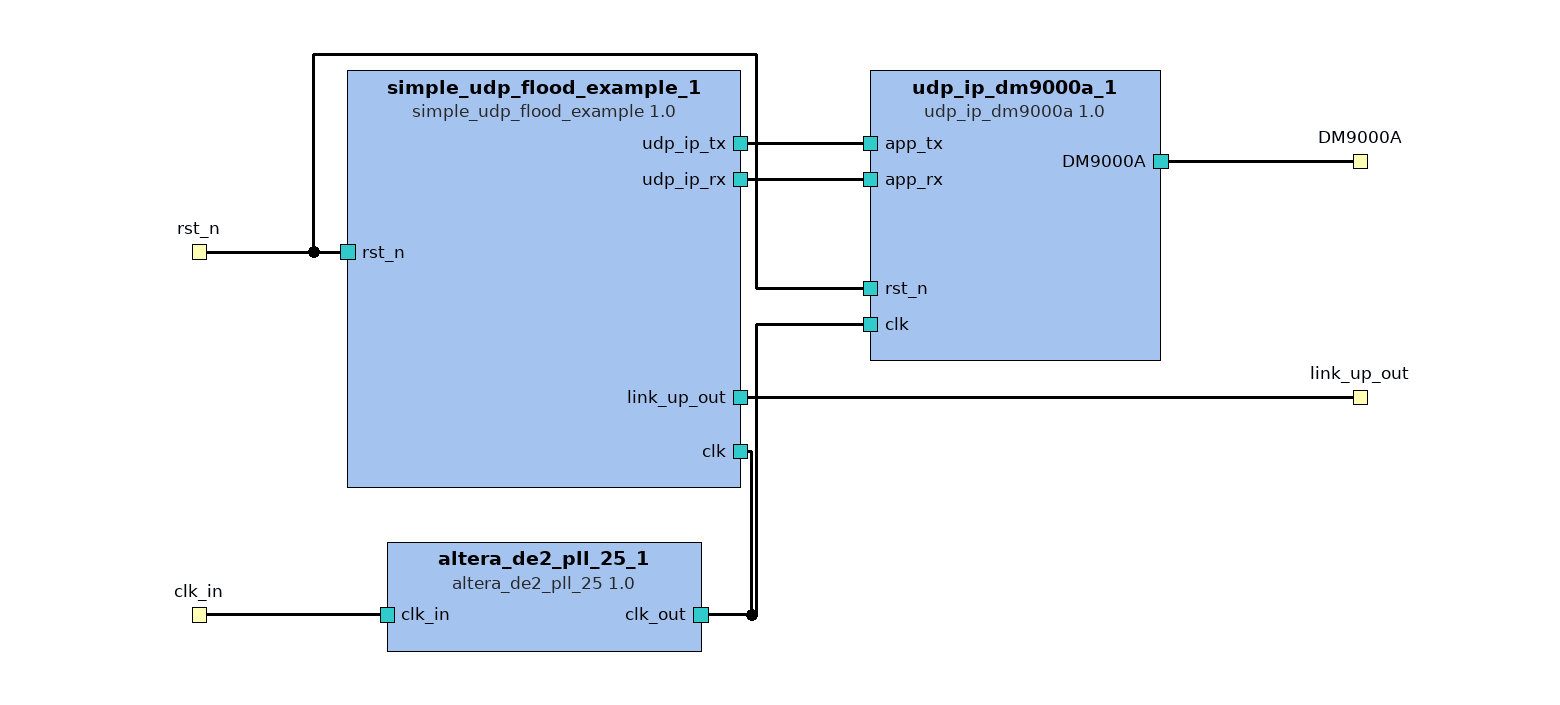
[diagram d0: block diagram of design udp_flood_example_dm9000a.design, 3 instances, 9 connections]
<?xml version="1.0" encoding="UTF-8"?>
<!-- Created by Kactus 2 document generator 18:41:06 ti marras 8 2011 -->
<spirit:design><spirit:vendor>TUT</spirit:vendor><spirit:library>soc</spirit:library><spirit:name>udp_flood_example_dm9000a.design</spirit:name><spirit:version>1.0</spirit:version><spirit:componentInstances>
 <spirit:componentInstance><spirit:instanceName>udp_ip_dm9000a_1</spirit:instanceName><spirit:componentRef spirit:vendor="TUT" spirit:library="ip.hwp.interface" spirit:name="udp_ip_dm9000a" spirit:version="1.0"/></spirit:componentInstance>
 <spirit:componentInstance><spirit:instanceName>simple_udp_flood_example_1</spirit:instanceName><spirit:componentRef spirit:vendor="TUT" spirit:library="ip.hwp.interface" spirit:name="simple_udp_flood_example" spirit:version="1.0"/></spirit:componentInstance>
 <spirit:componentInstance><spirit:instanceName>altera_de2_pll_25_1</spirit:instanceName><spirit:componentRef spirit:vendor="TUT" spirit:library="ip.hwp.misc" spirit:name="altera_de2_pll_25" spirit:version="1.0"/></spirit:componentInstance>
</spirit:componentInstances><spirit:interconnections>
 <spirit:interconnection><spirit:name>altera_de2_pll_25_1_clk_out_to_udp_ip_dm9000a_1_clk</spirit:name><spirit:activeInterface spirit:componentRef="altera_de2_pll_25_1" spirit:busRef="clk_out"/><spirit:activeInterface spirit:componentRef="udp_ip_dm9000a_1" spirit:busRef="clk"/></spirit:interconnection>
 <spirit:interconnection><spirit:name>altera_de2_pll_25_1_clk_out_to_simple_udp_flood_example_1_clk</spirit:name><spirit:activeInterface spirit:componentRef="altera_de2_pll_25_1" spirit:busRef="clk_out"/><spirit:activeInterface spirit:componentRef="simple_udp_flood_example_1" spirit:busRef="clk"/></spirit:interconnection>
 <spirit:interconnection><spirit:name>simple_udp_flood_example_1_udp_ip_rx_to_udp_ip_dm9000a_1_app_rx</spirit:name><spirit:activeInterface spirit:componentRef="simple_udp_flood_example_1" spirit:busRef="udp_ip_rx"/><spirit:activeInterface spirit:componentRef="udp_ip_dm9000a_1" spirit:busRef="app_rx"/></spirit:interconnection>
 <spirit:interconnection><spirit:name>simple_udp_flood_example_1_udp_ip_tx_to_udp_ip_dm9000a_1_app_tx</spirit:name><spirit:activeInterface spirit:componentRef="simple_udp_flood_example_1" spirit:busRef="udp_ip_tx"/><spirit:activeInterface spirit:componentRef="udp_ip_dm9000a_1" spirit:busRef="app_tx"/></spirit:interconnection>
</spirit:interconnections><spirit:hierConnections>
 <spirit:hierConnection spirit:interfaceRef="DM9000A"><spirit:interface spirit:componentRef="udp_ip_dm9000a_1" spirit:busRef="DM9000A"/></spirit:hierConnection>
 <spirit:hierConnection spirit:interfaceRef="rst_n"><spirit:interface spirit:componentRef="udp_ip_dm9000a_1" spirit:busRef="rst_n"/></spirit:hierConnection>
 <spirit:hierConnection spirit:interfaceRef="rst_n"><spirit:interface spirit:componentRef="simple_udp_flood_example_1" spirit:busRef="rst_n"/></spirit:hierConnection>
 <spirit:hierConnection spirit:interfaceRef="link_up_out"><spirit:interface spirit:componentRef="simple_udp_flood_example_1" spirit:busRef="link_up_out"/></spirit:hierConnection>
 <spirit:hierConnection spirit:interfaceRef="clk_in"><spirit:interface spirit:componentRef="altera_de2_pll_25_1" spirit:busRef="clk_in"/></spirit:hierConnection>
</spirit:hierConnections></spirit:design>

